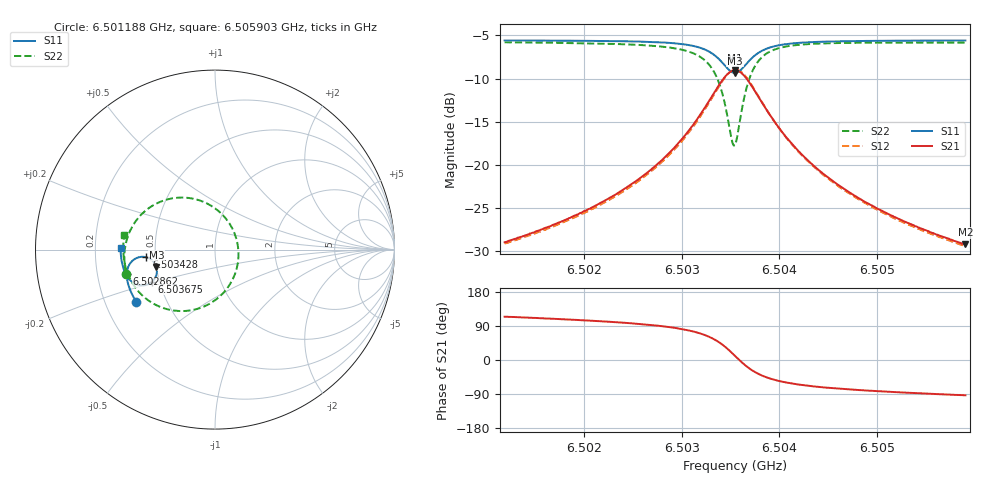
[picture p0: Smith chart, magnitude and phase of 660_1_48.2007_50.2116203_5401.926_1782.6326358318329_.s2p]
#  HZ  S  RI  R  50.00
! Rohde & Schwarz Vector Network Analyzer
! Rohde-Schwarz,ZNB20-2Port,1311601062101988,3.16
! Created: UTC 3/20/2024, 12:05:41 PM
! freq[Hz]  re:S11  im:S11  re:S21  im:S21  re:S12  im:S12  re:S22  im:S22
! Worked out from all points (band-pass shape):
!   401 points, 6.501188 GHz to 6.505903 GHz, reference 50 ohm
!   highest |S21| = -9.03 dB at 6.503545 GHz (marker M1); lowest = -29.2 dB at 6.505903 GHz (marker M2)
!   |S21| within 3 dB of the highest: 6.50331 GHz to 6.503782 GHz (471.3 kHz wide, 0.00725 % of centre)
!   lowest |S11| = -9.3 dB at 6.503545 GHz (marker M3), VSWR 2.03, Z = 25 - j5.49 ohm
!   |S11| at or under -10 dB: nowhere
!   |S22| runs from -17.8 to -5.8 dB; largest |S21 - S12| = 0.013
!   S11 on the Smith chart (normalised r, x): 6.501188 GHz: 0.34, -0.27; 6.502862 GHz: 0.33, -0.12; 6.503428 GHz: 0.45, -0.04; 6.503675 GHz: 0.46, -0.19; 6.505903 GHz: 0.31, +0.01
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6.501188e9  -0.4378 -0.292  -0.0146 0.0325  -0.0129 0.0326  -0.4957 -0.1343
6.5019778e9  -0.47 -0.2316  -0.0136 0.0512  -0.011 0.0509  -0.505 -0.0463
6.5024021e9  -0.4838 -0.1926  -0.0105 0.0711  -0.00713 0.0699  -0.5 0.0175
6.5027675e9  -0.4913 -0.1501  -0.000323 0.1031  0.00379 0.1004  -0.4771 0.0958
6.5028618e9  -0.4915 -0.1366  0.00553 0.1157  0.00987 0.1124  -0.4642 0.1227
6.5030622e9  -0.4856 -0.1021  0.0307 0.1523  0.0349 0.1473  -0.4123 0.1935
6.5032036e9  -0.4689 -0.0715  0.0724 0.1875  0.0756 0.1809  -0.3318 0.2539
6.5033333e9  -0.431 -0.0447  0.1527 0.2137  0.1539 0.2067  -0.1857 0.29
6.5034276e9  -0.3825 -0.0427  0.2478 0.196  0.2484 0.1904  -0.0209 0.244
6.5035101e9  -0.3378 -0.0739  0.329 0.1178  0.3319 0.1125  0.109 0.0899
6.5035455e9  -0.3268 -0.0971  0.347 0.0668  0.3513 0.0601  0.1305 -0.00611
6.503569e9  -0.3237 -0.1143  0.3506 0.0308  0.355 0.0224  0.1277 -0.0725
6.5036044e9  -0.3262 -0.1396  0.3424 -0.0218  0.3463 -0.0322  0.0985 -0.1658
6.5036751e9  -0.3496 -0.1784  0.2933 -0.101  0.2929 -0.1142  -0.0175 -0.2941
6.5037694e9  -0.3924 -0.1989  0.2113 -0.1456  0.2057 -0.1572  -0.1844 -0.3427
6.5038402e9  -0.4195 -0.1987  0.1617 -0.1508  0.1541 -0.1597  -0.2772 -0.3291
6.5039227e9  -0.4434 -0.1914  0.1196 -0.1443  0.1115 -0.1506  -0.3512 -0.2961
6.5040877e9  -0.4732 -0.17  0.0698 -0.1222  0.0625 -0.1251  -0.4319 -0.2263
6.5043352e9  -0.4961 -0.1386  0.0357 -0.0942  0.0303 -0.095  -0.4811 -0.1464
6.5046888e9  -0.5116 -0.1002  0.0158 -0.0692  0.012 -0.0689  -0.5046 -0.0697
6.505125e9  -0.521 -0.0587  0.00539 -0.0514  0.0029 -0.0507  -0.5112 -0.00381
6.5059029e9  -0.5261 0.0082  -0.00192 -0.0346  -0.00332 -0.0337  -0.5046 0.0823
